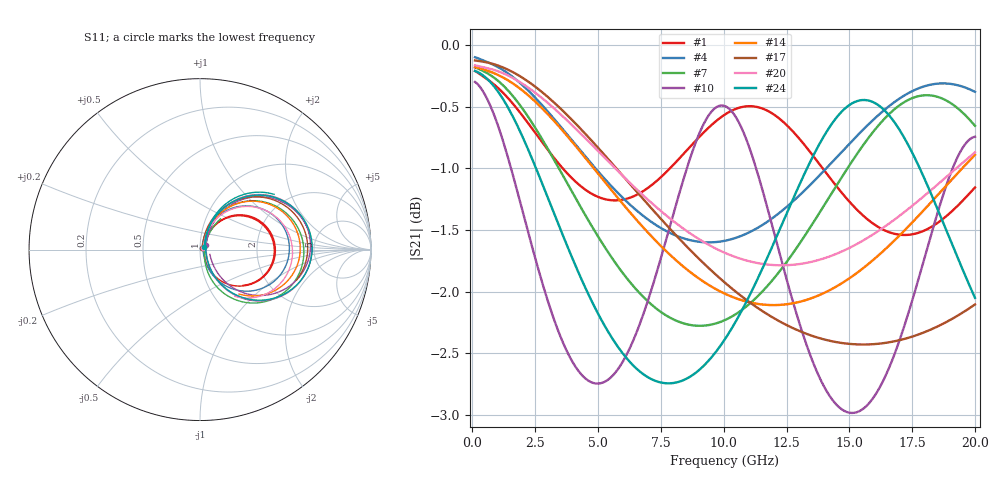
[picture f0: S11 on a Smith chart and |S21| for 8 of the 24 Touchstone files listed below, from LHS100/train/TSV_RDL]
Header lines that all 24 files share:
! Touchstone file exported from HFSS 2026.1.0
!  Design:  TSV_RDL
! Variables:
! Terminal data exported
# GHz S MA R 50.000000
Fixed: h_ox = 20um, h_rdl = 5um, h_via = 3um, m_sub = 200um, s_tmrdl = 10um, w_sub = 500um
Also varied, not listed: x_tsv_center2, x_tsv_center3, x_tsv_center4, x_tsv_center5, x_tsv_center6
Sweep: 100 MHz to 20 GHz
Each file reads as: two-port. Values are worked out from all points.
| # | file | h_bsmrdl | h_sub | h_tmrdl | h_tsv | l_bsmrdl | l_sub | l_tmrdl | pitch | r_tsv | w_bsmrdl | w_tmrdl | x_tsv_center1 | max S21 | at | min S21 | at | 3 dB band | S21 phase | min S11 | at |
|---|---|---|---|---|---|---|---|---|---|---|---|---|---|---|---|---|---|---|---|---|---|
| 1 | dut0.s2p | 3.87um | 83.92um | 3.95um | 83.92um | 687.28um | 5213.3um | 659.59um | 39.26um | 10.81um | 15.67um | 22.03um | 670.605um | -0.21 dB | 100 MHz | -1.5 dB | 17.2 GHz | 100 MHz-20 GHz | -158 deg at 10.1 GHz | -32.0 dB | 11.3 GHz |
| 2 | dut2.s2p | 3.77um | 97.11um | 4.36um | 97.11um | 644.29um | 3801.22um | 346.23um | 43.5um | 13.1um | 12.12um | 15.69um | 354.075um | -0.20 dB | 100 MHz | -1.9 dB | 20 GHz | 100 MHz-20 GHz | -124 deg at 10.1 GHz | -31.8 dB | 13.8 GHz |
| 3 | dut3.s2p | 6um | 91.3um | 4um | 91.3um | 311.63um | 4209.04um | 682.08um | 46.38um | 7.03um | 25.07um | 23.54um | 693.85um | -0.13 dB | 100 MHz | -1.4 dB | 20 GHz | 100 MHz-20 GHz | -126 deg at 10.1 GHz | -34.5 dB | 13.7 GHz |
| 4 | dut5.s2p | 5.19um | 71.28um | 3.61um | 71.28um | 322.99um | 3198.12um | 417.29um | 56.08um | 6.4um | 27.53um | 25.8um | 430.19um | -0.10 dB | 100 MHz | -1.6 dB | 9.4 GHz | 100 MHz-20 GHz | -93 deg at 10.1 GHz | -35.9 dB | 100 MHz |
| 5 | dut6.s2p | 3.75um | 64.53um | 4.29um | 64.53um | 341.07um | 2356.24um | 206.79um | 50.8um | 5.25um | 11.47um | 23.82um | 218.7um | -0.12 dB | 100 MHz | -2.4 dB | 13.2 GHz | 100 MHz-20 GHz | -73 deg at 10.1 GHz | -35.3 dB | 100 MHz |
| 6 | dut8.s2p | 3.98um | 79.74um | 2.24um | 79.74um | 706.77um | 5657.28um | 756.74um | 40.79um | 14.22um | 26.65um | 10.02um | 761.75um | -0.47 dB | 100 MHz | -2.3 dB | 20 GHz | 100 MHz-20 GHz | 170 deg at 10.1 GHz | -30.8 dB | 8.8 GHz |
| 7 | dut10.s2p | 3.14um | 84.45um | 4.02um | 84.45um | 331.43um | 3307.43um | 449.14um | 53.53um | 3.74um | 11.78um | 27.08um | 462.68um | -0.18 dB | 100 MHz | -2.3 dB | 9 GHz | 100 MHz-20 GHz | -100 deg at 10.1 GHz | -32.0 dB | 100 MHz |
| 8 | dut11.s2p | 4.6um | 55.05um | 2.82um | 55.05um | 274.31um | 3527.35um | 544.65um | 49.4um | 13.88um | 13.69um | 28.25um | 558.775um | -0.14 dB | 100 MHz | -1.3 dB | 8.8 GHz | 100 MHz-20 GHz | -101 deg at 10.1 GHz | -34.4 dB | 100 MHz |
| 9 | dut12.s2p | 4.7um | 63.96um | 2.55um | 63.96um | 418.15um | 2319.93um | 137.93um | 56.66um | 9.47um | 11.91um | 26.01um | 150.935um | -0.11 dB | 100 MHz | -2.4 dB | 13.3 GHz | 100 MHz-20 GHz | -73 deg at 10.1 GHz | -35.8 dB | 100 MHz |
| 10 | dut13.s2p | 3.62um | 79.27um | 4.14um | 79.27um | 866.64um | 5837.88um | 687.68um | 59.45um | 14.25um | 15.38um | 13.7um | 694.53um | -0.30 dB | 100 MHz | -3.0 dB | 15.1 GHz | 100 MHz-20 GHz | -178 deg at 10.1 GHz | -28.8 dB | 10 GHz |
| 11 | dut15.s2p | 2.07um | 75.47um | 4.77um | 75.47um | 223.42um | 2315.61um | 286.01um | 42.51um | 9.77um | 22.72um | 11.05um | 291.535um | -0.12 dB | 100 MHz | -1.4 dB | 11.4 GHz | 100 MHz-20 GHz | -75 deg at 10.1 GHz | -35.7 dB | 100 MHz |
| 12 | dut17.s2p | 3.39um | 54.2um | 2.78um | 54.2um | 454.35um | 5799.11um | 987.64um | 36.12um | 4.82um | 10.23um | 18.27um | 996.775um | -0.38 dB | 100 MHz | -2.2 dB | 16.7 GHz | 100 MHz-20 GHz | -163 deg at 10.1 GHz | -29.0 dB | 11.1 GHz |
| 13 | dut19.s2p | 3.11um | 62.42um | 4.54um | 62.42um | 138.82um | 4106.26um | 793.92um | 46um | 10.27um | 25.86um | 12.18um | 800.01um | -0.20 dB | 100 MHz | -2.4 dB | 20 GHz | 100 MHz-20 GHz | -116 deg at 10.1 GHz | -30.9 dB | 100 MHz |
| 14 | dut20.s2p | 4.22um | 54.8um | 2.59um | 54.8um | 479.14um | 2574.94um | 161.19um | 40.67um | 2.61um | 17.64um | 13.28um | 167.83um | -0.18 dB | 100 MHz | -2.1 dB | 12 GHz | 100 MHz-20 GHz | -76 deg at 10.1 GHz | -32.8 dB | 100 MHz |
| 15 | dut23.s2p | 5.21um | 82.43um | 5.14um | 82.43um | 670.6um | 4632.28um | 537.03um | 47.11um | 5.79um | 11.1um | 13.02um | 543.54um | -0.23 dB | 100 MHz | -2.9 dB | 19.7 GHz | 100 MHz-20 GHz | -130 deg at 10.1 GHz | -29.5 dB | 100 MHz |
| 16 | dut24.s2p | 3.33um | 62.91um | 3.1um | 62.91um | 813.26um | 4786.23um | 457.22um | 53.99um | 10.07um | 21.12um | 18.07um | 466.255um | -0.22 dB | 100 MHz | -2.4 dB | 19.4 GHz | 100 MHz-20 GHz | -133 deg at 10.1 GHz | -31.1 dB | 12.9 GHz |
| 17 | dut25.s2p | 5.81um | 92.76um | 2.84um | 92.76um | 250.83um | 1677.14um | 103.87um | 56.49um | 2.97um | 21.28um | 15.11um | 111.425um | -0.12 dB | 100 MHz | -2.4 dB | 15.6 GHz | 100 MHz-20 GHz | -63 deg at 10.1 GHz | -35.5 dB | 100 MHz |
| 18 | dut26.s2p | 4.76um | 93.43um | 4.66um | 93.43um | 735.86um | 3479.81um | 199um | 31.17um | 4.17um | 10.58um | 14.83um | 206.415um | -0.21 dB | 100 MHz | -1.8 dB | 8.3 GHz | 100 MHz-20 GHz | -106 deg at 10.1 GHz | -31.4 dB | 100 MHz |
| 19 | dut28.s2p | 4.8um | 65.35um | 4.06um | 65.35um | 513.08um | 5060.68um | 740.37um | 49.9um | 7.25um | 24.37um | 28.95um | 754.845um | -0.14 dB | 100 MHz | -1.5 dB | 18.9 GHz | 100 MHz-20 GHz | -142 deg at 10.1 GHz | -33.4 dB | 12.5 GHz |
| 20 | dut30.s2p | 4.02um | 96.93um | 4.97um | 96.93um | 105.1um | 2264.32um | 358.11um | 46.5um | 2.43um | 12.63um | 26.23um | 371.225um | -0.16 dB | 100 MHz | -1.8 dB | 12.3 GHz | 100 MHz-20 GHz | -78 deg at 10.1 GHz | -33.6 dB | 100 MHz |
| 21 | dut34.s2p | 2.57um | 59.45um | 4.49um | 59.45um | 562.13um | 5660.63um | 864.31um | 51.14um | 14.55um | 23.13um | 15.87um | 872.245um | -0.24 dB | 100 MHz | -2.3 dB | 15.9 GHz | 100 MHz-20 GHz | -165 deg at 10.1 GHz | -30.3 dB | 10.6 GHz |
| 22 | dut35.s2p | 4.66um | 74.37um | 4.17um | 74.37um | 741.88um | 6374.07um | 917.9um | 56.08um | 12.53um | 13.08um | 12.53um | 924.165um | -0.33 dB | 100 MHz | -3.2 dB | 14.1 GHz | 100 MHz-20 GHz | 165 deg at 10.1 GHz | -27.3 dB | 9.4 GHz |
| 23 | dut36.s2p | 2.92um | 53.53um | 2.18um | 53.53um | 192.29um | 1600.2um | 123.98um | 40.86um | 2.67um | 29.01um | 13.46um | 130.71um | -0.13 dB | 100 MHz | -1.4 dB | 17.7 GHz | 100 MHz-20 GHz | -52 deg at 10.1 GHz | -35.7 dB | 100 MHz |
| 24 | dut38.s2p | 3.94um | 55.51um | 4.45um | 55.51um | 501.46um | 3886.46um | 476.05um | 52.8um | 11.26um | 15.51um | 10.45um | 481.275um | -0.21 dB | 100 MHz | -2.7 dB | 7.8 GHz | 100 MHz-20 GHz | -107 deg at 10.1 GHz | -30.4 dB | 100 MHz |
